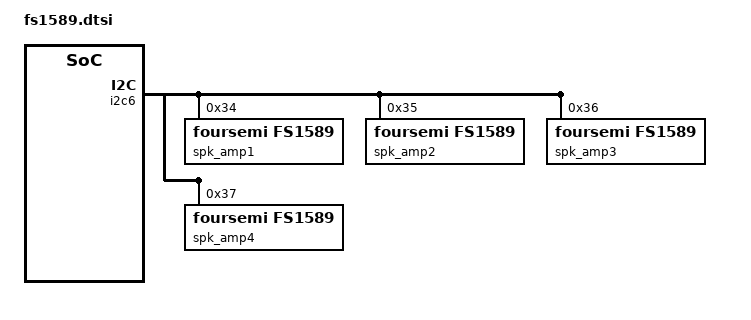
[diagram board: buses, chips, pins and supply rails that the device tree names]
/* Fourier FS1589 PA stereo */
&i2c6 {
        spk_amp1: fs15xx@34 {
                compatible = "foursemi,fs1589";
                reg = <0x34>;
                spkr-id = <1>;
                soft-reset = <0x100002>;
                fwm-name = "frsm-spk1.bin";
                status = "okay";
        };

        spk_amp2: fs15xx@35 {
                compatible = "foursemi,fs1589";
                reg = <0x35>;
                spkr-id = <2>;
                soft-reset = <0x100002>;
                fwm-name = "frsm-spk2.bin";
                status = "okay";
        };

        spk_amp3: fs15xx@36 {
                compatible = "foursemi,fs1589";
                reg = <0x36>;
                spkr-id = <3>;
                soft-reset = <0x100002>;
                fwm-name = "frsm-spk3.bin";
                status = "okay";
        };

        spk_amp4: fs15xx@37 {
                compatible = "foursemi,fs1589";
                reg = <0x37>;
                spkr-id = <4>;
                soft-reset = <0x100002>;
                fwm-name = "frsm-spk4.bin";
                status = "okay";
        };
/* Fourier FS1589 PA stereo End */
};
